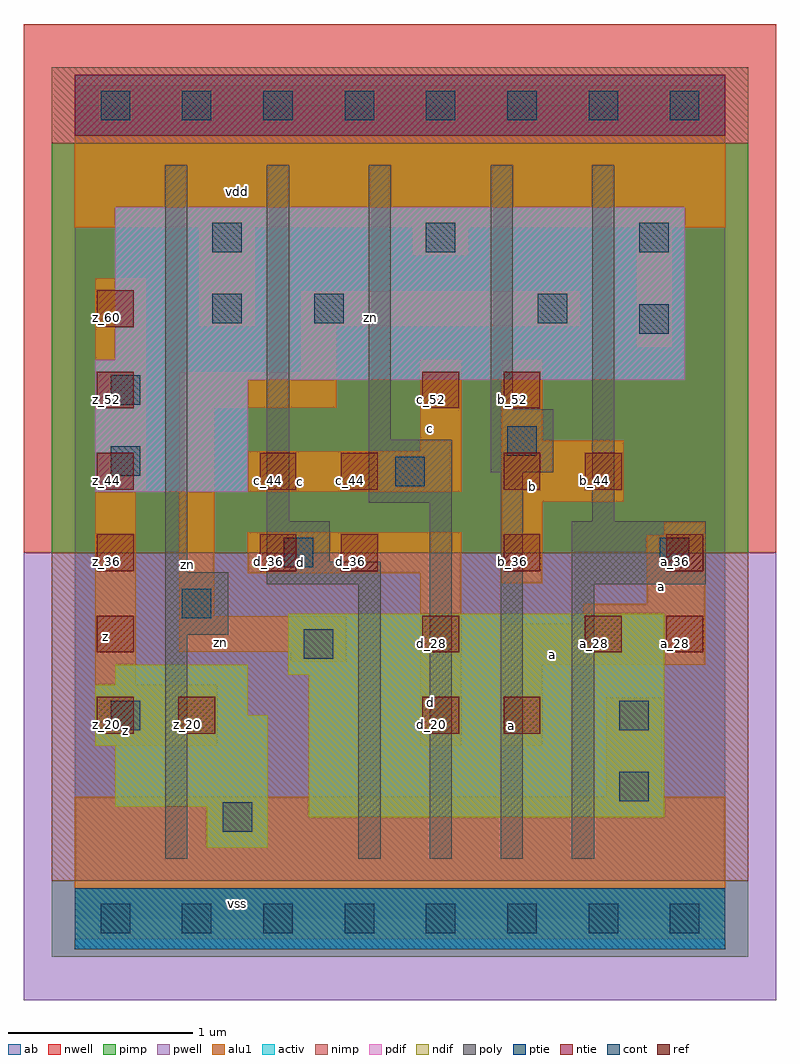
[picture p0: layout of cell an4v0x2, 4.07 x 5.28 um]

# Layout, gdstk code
import gdstk
lib = gdstk.Library(unit=1e-6, precision=2.5e-09)
def R(c, l, rs):  # rectangles x0, y0, x1, y1
    for r in rs: c.add(gdstk.rectangle(r[:2], r[2:], *l))
def A(c, l, x, y, w, h, nx, ny, dx, dy):  # array of equal rectangles
    R(c, l, [(x+i*dx, y+j*dy, x+i*dx+w, y+j*dy+h) for i in range(nx) for j in range(ny)])
ndif = (3, 0)
pdif = (4, 0)
ntie = (5, 0)
ptie = (6, 0)
ref = (24, 0)
cont = (25, 0)
pwell = (41, 0)
nwell = (42, 0)
activ = (43, 0)
pimp = (44, 0)
nimp = (45, 0)
poly = (46, 0)
alu1 = (49, 0)
ab = (63, 0)

an4v0x2 = lib.new_cell('an4v0x2')
R(an4v0x2, ndif, [(0.715,0.385,1.045,0.605), (1.265,0.55,3.19,1.32), (0.22,0.605,1.045,0.935), (0.11,0.935,1.045,1.1), (0.11,1.1,0.935,1.265), (0.22,1.265,0.935,1.375), (1.155,1.32,3.19,1.65)])
R(an4v0x2, pdif, [(0.11,2.31,0.935,2.915), (0.11,2.915,3.3,3.025), (0.22,3.025,3.3,3.85)])
R(an4v0x2, ntie, [(0,4.235,3.52,4.565)])
R(an4v0x2, ptie, [(0,-0.165,3.52,0.165)])
A(an4v0x2, ref, 0.12, 1, 0.2, 0.2, 1, 6, 0, 0.44)
A(an4v0x2, ref, 1.44, 1.88, 0.2, 0.2, 3, 1, 0.88, 0)
R(an4v0x2, ref, [(0.56,1,0.76,1.2), (1.88,1,2.08,1.2), (2.32,1,2.52,1.2), (1.88,1.44,2.08,1.64), (2.76,1.44,2.96,1.64), (3.2,1.44,3.4,1.64), (1,1.88,1.2,2.08), (1,2.32,1.2,2.52), (1.44,2.32,1.64,2.52), (2.32,2.32,2.52,2.52), (2.76,2.32,2.96,2.52), (1.88,2.76,2.08,2.96), (2.32,2.76,2.52,2.96)])
A(an4v0x2, cont, 0.14, -0.08, 0.16, 0.16, 8, 2, 0.44, 4.4)
A(an4v0x2, cont, 0.745, 3.605, 0.16, 0.16, 3, 1, 1.155, 0)
R(an4v0x2, cont, [(0.8,0.47,0.96,0.63), (2.945,0.635,3.105,0.795), (0.195,1.02,0.355,1.18), (2.945,1.02,3.105,1.18), (1.24,1.405,1.4,1.565), (0.58,1.625,0.74,1.785), (1.13,1.9,1.29,2.06), (3.165,1.9,3.325,2.06), (1.735,2.34,1.895,2.5), (0.195,2.395,0.355,2.555), (2.34,2.505,2.5,2.665), (0.195,2.78,0.355,2.94), (3.055,3.165,3.215,3.325), (0.745,3.22,0.905,3.38), (1.295,3.22,1.455,3.38), (2.505,3.22,2.665,3.38)])
R(an4v0x2, pwell, [(-0.275,-0.44,3.795,1.98)])
R(an4v0x2, nwell, [(-0.275,1.98,3.795,4.84)])
R(an4v0x2, activ, [(0,-0.165,3.52,0.165), (0.715,0.385,1.045,0.605), (1.265,0.55,3.19,1.32), (0.22,0.605,1.045,0.935), (0.11,0.935,1.045,1.1), (0.11,1.1,0.935,1.265), (0.22,1.265,0.935,1.375), (1.155,1.32,3.19,1.65), (0.11,2.31,0.935,2.915), (0.11,2.915,3.3,3.025), (0.22,3.025,3.3,3.85), (0,4.235,3.52,4.565)])
R(an4v0x2, pimp, [(-0.125,-0.205,3.645,0.205), (-0.125,1.98,3.645,4.195)])
R(an4v0x2, nimp, [(-0.125,0.205,3.645,1.98), (-0.125,4.195,3.645,4.605)])
R(an4v0x2, poly, [(0.49,0.325,0.61,1.535), (1.535,0.325,1.655,1.81), (1.92,0.325,2.04,2.25), (2.305,0.325,2.425,2.415), (2.69,0.325,2.81,1.81), (0.49,1.535,0.83,1.875), (1.04,1.81,1.655,1.93), (2.69,1.81,3.415,2.15), (0.49,1.875,0.61,4.075), (1.04,1.93,1.38,2.15), (1.04,2.15,1.16,4.075), (2.8,2.15,2.92,4.075), (1.59,2.25,2.04,2.59), (2.25,2.415,2.59,2.755), (1.59,2.59,1.71,4.075), (2.25,2.755,2.37,4.075)])
R(an4v0x2, alu1, [(0,-0.11,3.52,0.66), (2.875,0.66,3.175,1.195), (0.11,0.935,0.77,1.265), (1.87,0.935,2.09,1.87), (2.31,0.935,2.53,1.375), (0.11,1.265,0.33,2.31), (2.31,1.375,3.41,1.595), (1.17,1.39,1.47,1.445), (0.565,1.445,1.47,1.635), (2.75,1.595,3.41,1.705), (0.565,1.635,0.755,2.765), (3.095,1.705,3.41,2.075), (2.31,1.815,2.53,2.255), (0.935,1.87,2.09,2.09), (3.19,2.075,3.41,2.145), (2.31,2.255,2.97,2.585), (0.11,2.31,0.385,3.465), (0.935,2.31,2.09,2.53), (1.87,2.53,2.09,3.025), (2.31,2.585,2.53,3.025), (0.565,2.765,1.415,2.955), (1.225,2.955,1.415,3.205), (3.04,3.095,3.23,3.74), (0.675,3.205,0.975,3.74), (1.225,3.205,2.735,3.395), (1.83,3.59,2.13,3.74), (0,3.74,3.52,4.51)])
R(an4v0x2, ab, [(0,0,3.52,4.4)])
an4v0x2.add(gdstk.Label('vss', (0.88,0.0825), layer=49, texttype=0))
an4v0x2.add(gdstk.Label('a', (2.365,1.045), layer=49, texttype=0))
an4v0x2.add(gdstk.Label('a', (2.585,1.43), layer=49, texttype=0))
an4v0x2.add(gdstk.Label('a', (3.1725,1.7975), layer=49, texttype=0))
an4v0x2.add(gdstk.Label('d', (1.925,1.1675), layer=49, texttype=0))
an4v0x2.add(gdstk.Label('z', (0.275,1.0175), layer=49, texttype=0))
an4v0x2.add(gdstk.Label('zn', (0.79,1.4925), layer=49, texttype=0))
an4v0x2.add(gdstk.Label('d', (1.2225,1.925), layer=49, texttype=0))
an4v0x2.add(gdstk.Label('b', (2.475,2.3375), layer=49, texttype=0))
an4v0x2.add(gdstk.Label('c', (1.2225,2.365), layer=49, texttype=0))
an4v0x2.add(gdstk.Label('c', (1.925,2.6525), layer=49, texttype=0))
an4v0x2.add(gdstk.Label('zn', (0.6125,1.9175), layer=49, texttype=0))
an4v0x2.add(gdstk.Label('z', (0.165,1.525), layer=49, texttype=0))
an4v0x2.add(gdstk.Label('zn', (1.6025,3.2525), layer=49, texttype=0))
an4v0x2.add(gdstk.Label('vdd', (0.88,3.9325), layer=49, texttype=0))
an4v0x2.add(gdstk.Label('z_20', (0.61,1.05), layer=24, texttype=0))
an4v0x2.add(gdstk.Label('d_36', (1.05,1.93), layer=24, texttype=0))
an4v0x2.add(gdstk.Label('c_44', (1.05,2.37), layer=24, texttype=0))
an4v0x2.add(gdstk.Label('d_36', (1.49,1.93), layer=24, texttype=0))
an4v0x2.add(gdstk.Label('c_44', (1.49,2.37), layer=24, texttype=0))
an4v0x2.add(gdstk.Label('d_20', (1.93,1.05), layer=24, texttype=0))
an4v0x2.add(gdstk.Label('d_28', (1.93,1.49), layer=24, texttype=0))
an4v0x2.add(gdstk.Label('c_52', (1.93,2.81), layer=24, texttype=0))
an4v0x2.add(gdstk.Label('z_20', (0.17,1.05), layer=24, texttype=0))
an4v0x2.add(gdstk.Label('z_28', (0.17,1.49), layer=24, texttype=0))
an4v0x2.add(gdstk.Label('z_36', (0.17,1.93), layer=24, texttype=0))
an4v0x2.add(gdstk.Label('z_44', (0.17,2.37), layer=24, texttype=0))
an4v0x2.add(gdstk.Label('z_52', (0.17,2.81), layer=24, texttype=0))
an4v0x2.add(gdstk.Label('z_60', (0.17,3.25), layer=24, texttype=0))
an4v0x2.add(gdstk.Label('a_20', (2.37,1.05), layer=24, texttype=0))
an4v0x2.add(gdstk.Label('b_36', (2.37,1.93), layer=24, texttype=0))
an4v0x2.add(gdstk.Label('b_44', (2.37,2.37), layer=24, texttype=0))
an4v0x2.add(gdstk.Label('b_52', (2.37,2.81), layer=24, texttype=0))
an4v0x2.add(gdstk.Label('a_28', (2.81,1.49), layer=24, texttype=0))
an4v0x2.add(gdstk.Label('b_44', (2.81,2.37), layer=24, texttype=0))
an4v0x2.add(gdstk.Label('a_28', (3.25,1.49), layer=24, texttype=0))
an4v0x2.add(gdstk.Label('a_36', (3.25,1.93), layer=24, texttype=0))

lib.write_gds('an4v0x2.gds')
